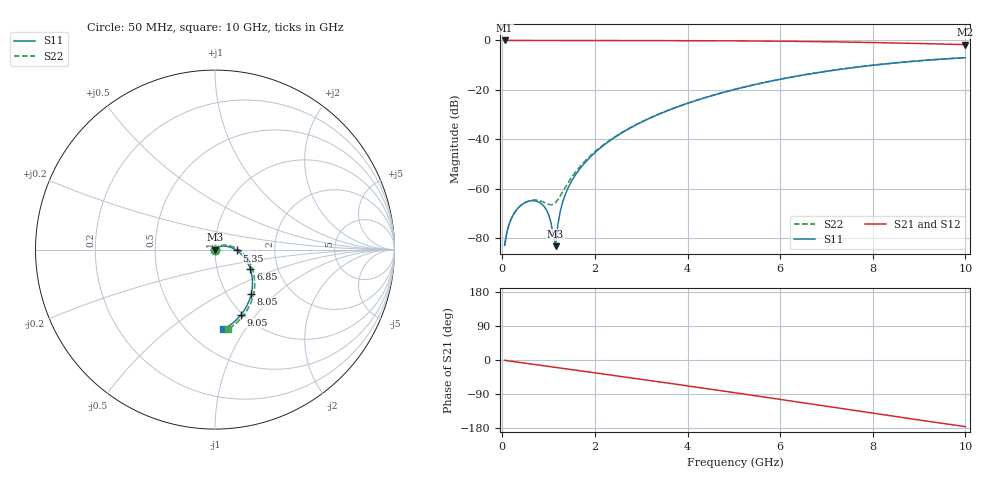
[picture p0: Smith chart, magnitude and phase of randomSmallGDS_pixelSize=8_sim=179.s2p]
! freq	dB(S11)	phase(S11)	dB(S12)	phase(S12)
!  dB(S21)	phase(S21)	dB(S22)	phase(S22)
!S-par simulation data
#  GHz  S  DB  R 50
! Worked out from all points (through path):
!   200 points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, 50 MHz to 10 GHz, reference 50 ohm
!   highest |S21| = 0.00 dB at 50 MHz (marker M1); lowest = -1.7 dB at 10 GHz (marker M2)
!   group delay of S21, straight-line fit = 49.1 ps
!   lowest |S11| = -83.3 dB at 1.15 GHz (marker M3), VSWR 1.00, Z = 50 + j0.00463 ohm
!   |S11| at or under -10 dB: start of sweep to 8.021 GHz
!   |S22| runs from -83.0 to -7.0 dB; largest |S21 - S12| = 0
!   S11 on the Smith chart (normalised r, x): 50 MHz: 1.00, -0.00; 5.35 GHz: 1.28, -0.01; 6.85 GHz: 1.45, -0.34; 8.05 GHz: 1.29, -0.71; 9.05 GHz: 0.98, -0.84; 10 GHz: 0.72, -0.80
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0.05  -82.96 -67.3  -0.00 -0.9  -0.00 -0.9  -83.04 -67.8
0.2  -71.88 -87.5  -0.00 -3.4  -0.00 -3.4  -71.97 -90.7
0.3  -68.75 -91.5  -0.00 -5.1  -0.00 -5.1  -68.82 -96.5
0.65  -64.86 -100.9  -0.01 -11.0  -0.01 -11.0  -64.67 -115.6
0.95  -68.48 -110.7  -0.02 -16.1  -0.02 -16.1  -65.94 -149.6
1.05  -73.62 -120.5  -0.02 -17.8  -0.02 -17.8  -66.52 -173.6
1.1  -78.94 -142.7  -0.02 -18.6  -0.02 -18.6  -66.34 171.4
1.15  -83.27 137.5  -0.02 -19.5  -0.02 -19.5  -65.64 155.8
1.25  -69.32 80.8  -0.02 -21.2  -0.02 -21.2  -62.99 129.3
1.35  -62.87 74.0  -0.03 -22.9  -0.03 -22.9  -59.76 111.9
1.5  -56.84 68.9  -0.03 -25.4  -0.03 -25.4  -55.35 96.2
1.75  -50.21 63.0  -0.03 -29.6  -0.03 -29.6  -49.53 81.6
2.45  -38.97 49.3  -0.05 -41.5  -0.05 -41.5  -38.76 59.7
3.4  -29.71 32.1  -0.07 -57.9  -0.07 -57.9  -29.62 39.0
5.05  -19.68 3.0  -0.17 -86.8  -0.17 -86.8  -19.64 7.8
5.35  -18.32 -2.3  -0.21 -92.2  -0.21 -92.2  -18.28 2.2
6.7  -13.37 -26.5  -0.44 -116.7  -0.44 -116.7  -13.33 -22.6
6.85  -12.92 -29.2  -0.48 -119.4  -0.48 -119.4  -12.88 -25.4
8.05  -9.94 -50.6  -0.85 -141.3  -0.85 -141.3  -9.91 -47.1
8.35  -9.35 -55.9  -0.96 -146.7  -0.96 -146.7  -9.31 -52.4
9.05  -8.17 -68.1  -1.25 -159.2  -1.25 -159.2  -8.13 -64.6
10  -6.99 -84.2  -1.69 -175.8  -1.69 -175.8  -6.96 -80.7
